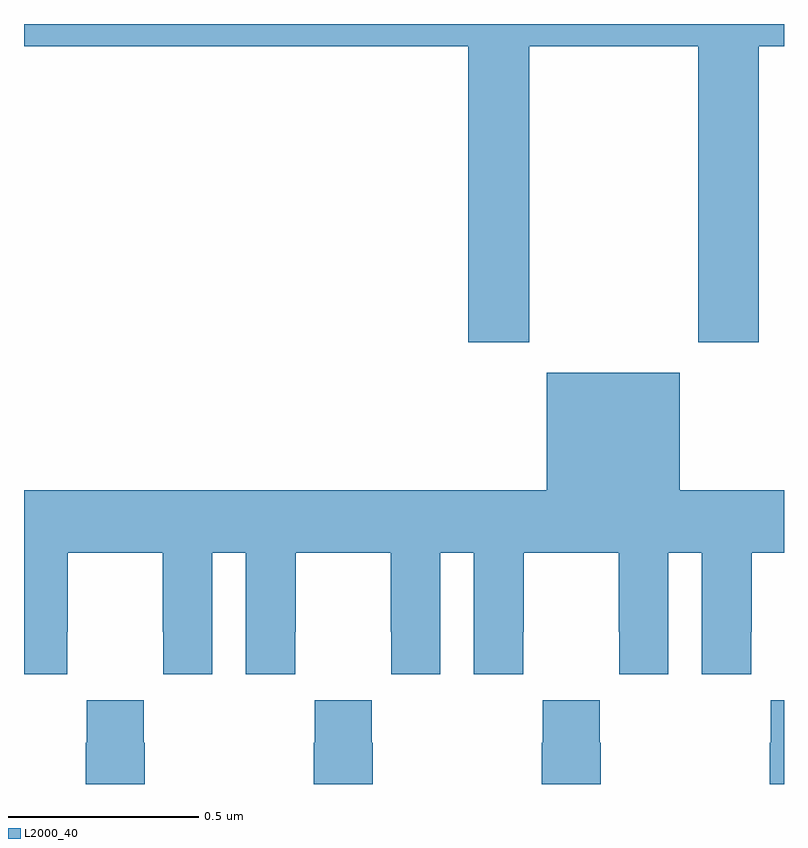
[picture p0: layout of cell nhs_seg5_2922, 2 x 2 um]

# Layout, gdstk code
import gdstk
lib = gdstk.Library(unit=1e-6, precision=1e-09)
def P(c, l, *ps):  # polygons
    for p in ps: c.add(gdstk.Polygon(p, *l))
L2000_40 = (2000, 40)

nhs_seg5_2922 = lib.new_cell('nhs_seg5_2922')
P(nhs_seg5_2922, L2000_40, [(151.329,876.74),(151.774,876.74),(151.774,875.961),(151.934,875.961),(151.934,876.74),(152,876.74),(152,876.799),(150,876.799),(150,876.74),(151.169,876.74),(151.169,875.961),(151.329,875.961)],
  [(150.114,875.2),(150.115,875.2),(150.115,875.408),(150.365,875.408),(150.365,875.2),(150.366,875.2),(150.366,875.088),(150.496,875.088),(150.496,875.408),(150.584,875.408),(150.584,875.088),(150.714,875.088),(150.714,875.2),(150.715,875.2),(150.715,875.408),(150.965,875.408),(150.965,875.2),(150.966,875.2),(150.966,875.088),(151.096,875.088),(151.096,875.408),(151.184,875.408),(151.184,875.088),(151.314,875.088),(151.314,875.2),(151.315,875.2),(151.315,875.408),(151.565,875.408),(151.565,875.2),(151.566,875.2),(151.566,875.088),(151.696,875.088),(151.696,875.408),(151.784,875.408),(151.784,875.088),(151.914,875.088),(151.914,875.2),(151.915,875.2),(151.915,875.408),(152,875.408),(152,875.572),(151.726,875.572),(151.726,875.881),(151.376,875.881),(151.376,875.572),(150,875.572),(150,875.088),(150.114,875.088)],
  [(152,875.02),(151.965,875.02),(151.965,874.907),(151.963,874.907),(151.963,874.799),(152,874.799)],
  [(151.518,874.907),(151.515,874.907),(151.515,875.02),(151.365,875.02),(151.365,874.907),(151.363,874.907),(151.363,874.799),(151.518,874.799)],
  [(150.918,874.907),(150.915,874.907),(150.915,875.02),(150.765,875.02),(150.765,874.907),(150.763,874.907),(150.763,874.799),(150.918,874.799)],
  [(150.318,874.907),(150.315,874.907),(150.315,875.02),(150.165,875.02),(150.165,874.907),(150.163,874.907),(150.163,874.799),(150.318,874.799)])

lib.write_gds('nhs_seg5_2922.gds')
